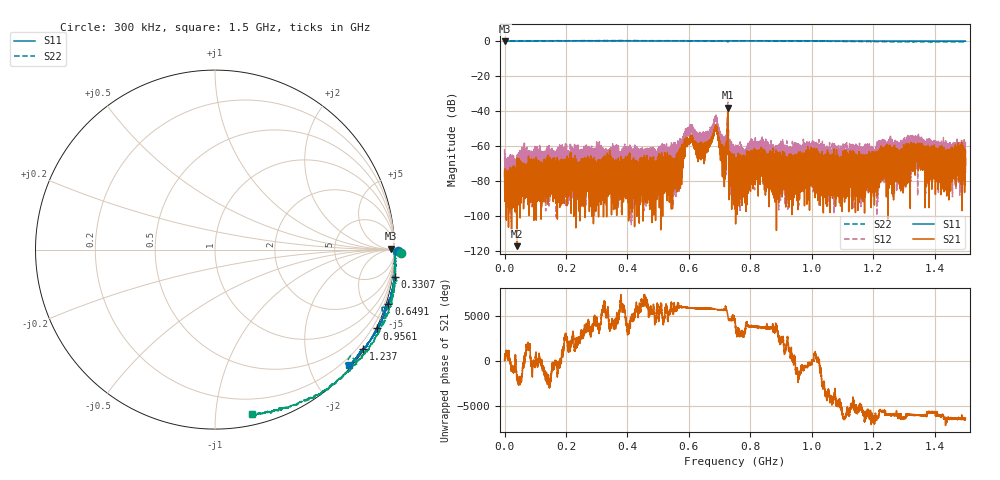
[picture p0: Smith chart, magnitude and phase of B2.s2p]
!Agilent Technologies,N5230C,SG49000117,A.08.50.07
!Agilent N5230C: A.08.50.07
!Date: Thursday, December 07, 2023 05:03:17
!Correction: S11(Full 2 Port(1,2))
!S21(Full 2 Port(1,2))
!S12(Full 2 Port(1,2))
!S22(Full 2 Port(1,2))
!S2P File: Measurements: S11, S21, S12, S22:
# Hz S  RI  R 50
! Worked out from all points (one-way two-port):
!   20001 points, 300 kHz to 1.5 GHz, reference 50 ohm
!   highest |S21| = -38.19 dB at 727.1 MHz (marker M1); lowest = -117.4 dB at 39.74 MHz (marker M2)
!   lowest |S11| = -0.2 dB at 525 kHz (marker M3), VSWR 89.87, Z = 4.21e+03 + j1.08e+03 ohm
!   |S11| at or under -10 dB: nowhere
!   |S22| runs from -0.6 to 0.3 dB; largest |S21 - S12| = 0.013
!   S11 on the Smith chart (normalised r, x): 300 kHz: -89, -43; 330.7 MHz: -1, -13; 649.1 MHz: -0.27, -6.53; 956.1 MHz: -0.04, -4.34; 1.237 GHz: 0.03, -3.29; 1.5 GHz: 0.04, -2.69
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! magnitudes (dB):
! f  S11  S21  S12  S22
! 300 kHz  0.2  -77.4  -61.9  0.3
! 525 kHz  -0.2  -85.6  -75.9  -0.6
! 7.873 MHz  0.0  -84.4  -77.1  0.0
! 39.74 MHz  0.0  -117.4  -76.0  0.0
! 250.3 MHz  0.1  -70.2  -62.5  0.2
! 330.7 MHz  0.1  -72.5  -76.8  0.2
! 500.2 MHz  0.1  -74.9  -65.4  0.2
! 553.5 MHz  0.1  -74.4  -63.3  0.2
! 603.4 MHz  0.1  -58.5  -52.2  0.1
! 649.1 MHz  0.1  -63.2  -53.7  0.1
! 686.7 MHz  0.1  -49.0  -43.5  0.0
! 711.3 MHz  0.1  -65.4  -56.2  0.1
! 727.1 MHz  -0.2  -38.2  -32.7  -0.5
! 736.7 MHz  0.1  -75.8  -77.4  0.0
! 750.1 MHz  0.1  -75.5  -64.6  0.1
! 833.1 MHz  0.1  -67.0  -62.4  0.0
! 956.1 MHz  0.0  -79.9  -68.8  -0.1
! 1 GHz  0.1  -68.9  -65.6  -0.1
! 1.237 GHz  0.0  -70.0  -64.4  -0.3
! 1.25 GHz  -0.1  -61.6  -60.4  -0.3
! 1.339 GHz  -0.1  -63.2  -58.1  -0.4
! 1.5 GHz  -0.1  -63.0  -71.3  -0.6
